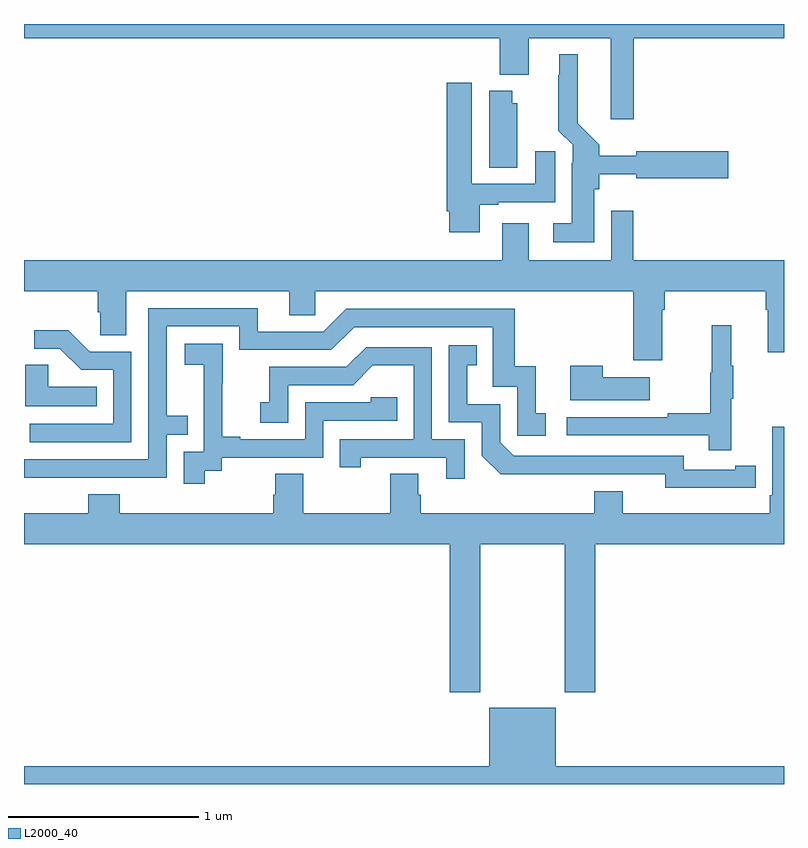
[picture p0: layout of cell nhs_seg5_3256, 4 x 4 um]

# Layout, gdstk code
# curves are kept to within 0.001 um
import gdstk
lib = gdstk.Library(unit=1e-6, precision=1e-09)
def P(c, l, *ps):  # polygons
    for p in ps: c.add(gdstk.Polygon(p, *l))
L2000_40 = (2000, 40)

nhs_seg5_3256 = lib.new_cell('nhs_seg5_3256')
P(nhs_seg5_3256, L2000_40, [(302.21,892.724),(303,892.724),(303,892.799),(299,892.799),(299,892.724),(301.505,892.724),(301.505,892.532),(301.657,892.532),(301.657,892.724),(302.087,892.724),(302.087,892.299),(302.21,892.299)],
  [(302.002,891.93),(302.028,891.93),(302.028,892.007),(302.222,892.007),(302.222,891.988),(302.707,891.988),(302.707,892.13),(302.222,892.13),(302.222,892.106),(302.028,892.106),(302.028,892.163),(301.915,892.276),(301.915,892.639),(301.817,892.639),(301.817,892.529),(301.813,892.529),(301.813,892.238),(301.887,892.164),(301.887,892.07),(301.883,892.07),(301.883,891.751),(301.785,891.751),(301.785,891.65),(302.002,891.65)],
  [(301.399,891.849),(301.495,891.849),(301.495,891.861),(301.795,891.861),(301.795,892.129),(301.691,892.129),(301.691,891.957),(301.357,891.957),(301.357,892.489),(301.226,892.489),(301.226,891.814),(301.238,891.814),(301.238,891.702),(301.399,891.702)],
  [(301.597,892.383),(301.57,892.383),(301.57,892.447),(301.448,892.447),(301.448,892.042),(301.597,892.042)],
  [(302.359,891.296),(302.372,891.296),(302.372,891.392),(302.903,891.392),(302.903,891.296),(302.915,891.296),(302.915,891.072),(303,891.072),(303,891.556),(302.207,891.556),(302.207,891.817),(302.091,891.817),(302.091,891.556),(301.657,891.556),(301.657,891.751),(301.517,891.751),(301.517,891.556),(299,891.556),(299,891.392),(299.387,891.392),(299.387,891.283),(299.4,891.283),(299.4,891.16),(299.539,891.16),(299.539,891.392),(300.395,891.392),(300.395,891.265),(300.534,891.265),(300.534,891.392),(302.207,891.392),(302.207,891.03),(302.359,891.03)],
  [(299.255,890.412),(299.751,890.412),(299.751,890.637),(299.861,890.637),(299.861,890.738),(299.751,890.738),(299.751,891.207),(300.132,891.207),(300.132,891.084),(300.618,891.084),(300.738,891.204),(301.467,891.204),(301.467,890.889),(301.596,890.889),(301.596,890.631),(301.747,890.631),(301.747,890.751),(301.694,890.751),(301.694,890.998),(301.583,890.998),(301.583,891.3),(300.696,891.3),(300.576,891.18),(300.229,891.18),(300.229,891.303),(299.655,891.303),(299.655,890.508),(299,890.508),(299,890.411)],
  [(302.723,890.827),(302.734,890.827),(302.734,891.001),(302.723,891.001),(302.723,891.214),(302.62,891.214),(302.62,890.964),(302.613,890.964),(302.613,890.75),(302.389,890.75),(302.389,890.73),(301.857,890.73),(301.857,890.634),(302.605,890.634),(302.605,890.556),(302.723,890.556)],
  [(299.565,891.075),(299.346,891.075),(299.233,891.188),(299.055,891.188),(299.055,891.09),(299.189,891.09),(299.3,890.979),(299.469,890.979),(299.469,890.694),(299.031,890.694),(299.031,890.598),(299.565,890.598)],
  [(299.95,890.449),(300.042,890.449),(300.042,890.517),(300.576,890.517),(300.576,890.712),(300.965,890.712),(300.965,890.835),(300.825,890.835),(300.825,890.808),(300.48,890.808),(300.48,890.613),(300.139,890.613),(300.139,890.626),(300.044,890.626),(300.044,890.909),(300.045,890.909),(300.045,891.115),(299.847,891.115),(299.847,891.005),(299.945,891.005),(299.945,890.777),(299.946,890.777),(299.946,890.547),(299.841,890.547),(299.841,890.379),(299.95,890.379)],
  [(302.744,890.358),(302.852,890.358),(302.852,890.474),(302.744,890.474),(302.744,890.454),(302.472,890.454),(302.472,890.526),(301.578,890.526),(301.506,890.598),(301.506,890.799),(301.333,890.799),(301.333,891.003),(301.382,891.003),(301.382,891.109),(301.236,891.109),(301.236,890.703),(301.41,890.703),(301.41,890.526),(301.508,890.429),(302.376,890.43),(302.376,890.357)],
  [(301.32,890.613),(301.146,890.613),(301.146,891.099),(300.8,891.099),(300.695,890.994),(300.292,890.994),(300.292,890.809),(300.243,890.809),(300.243,890.7),(300.39,890.7),(300.39,890.898),(300.732,890.898),(300.836,891.002),(301.05,891.002),(301.05,890.613),(300.661,890.613),(300.661,890.466),(300.772,890.466),(300.772,890.517),(301.223,890.517),(301.223,890.406),(301.32,890.406)],
  [(299.384,890.89),(299.127,890.89),(299.127,891.005),(299.006,891.005),(299.006,890.786),(299.384,890.786)],
  [(302.293,890.941),(302.045,890.941),(302.045,891.001),(301.874,891.001),(301.874,890.819),(302.293,890.819)],
  [(301.241,889.281),(301.401,889.281),(301.401,890.06),(301.846,890.06),(301.846,889.281),(302.006,889.281),(302.006,890.06),(303,890.06),(303,890.68),(302.937,890.68),(302.937,890.32),(302.924,890.32),(302.924,890.224),(302.152,890.224),(302.152,890.341),(302,890.341),(302,890.224),(301.088,890.224),(301.088,890.322),(301.075,890.322),(301.075,890.432),(300.928,890.432),(300.928,890.224),(300.471,890.224),(300.471,890.432),(300.323,890.432),(300.323,890.322),(300.311,890.322),(300.311,890.224),(299.504,890.224),(299.504,890.323),(299.339,890.323),(299.339,890.224),(299,890.224),(299,890.06),(301.241,890.06)],
  [(303,888.892),(301.798,888.892),(301.798,889.201),(301.448,889.201),(301.448,888.892),(299,888.892),(299,888.799),(303,888.799)])

lib.write_gds('nhs_seg5_3256.gds')
